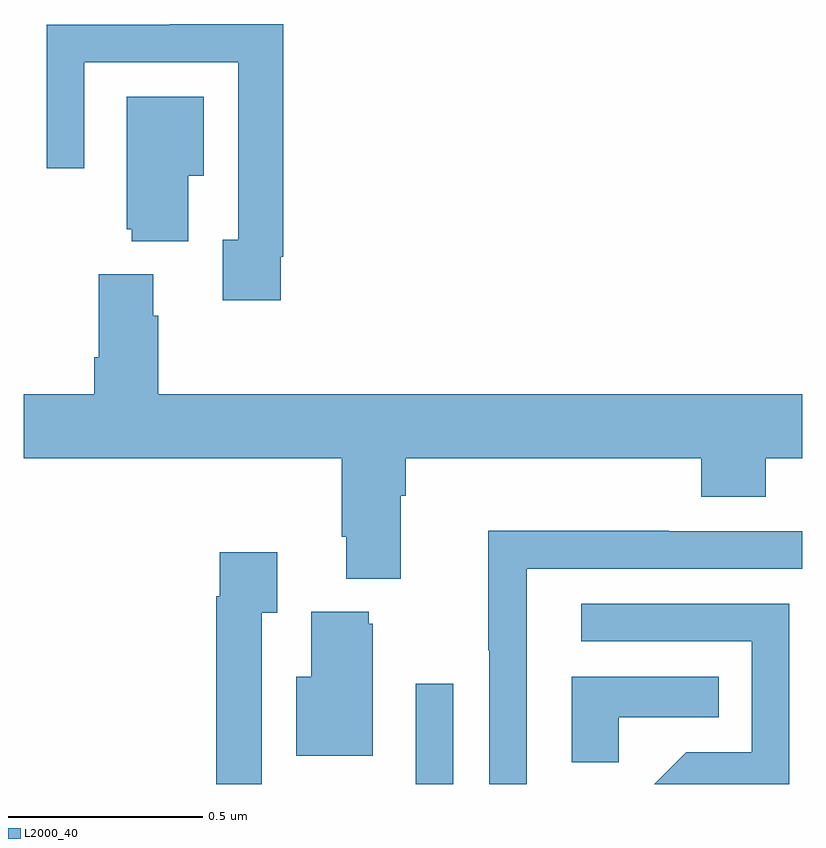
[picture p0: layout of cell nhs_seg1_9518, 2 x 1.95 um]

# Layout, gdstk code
import gdstk
lib = gdstk.Library(unit=1e-6, precision=1e-09)
def R(c, l, rs):  # rectangles x0, y0, x1, y1
    for r in rs: c.add(gdstk.rectangle(r[:2], r[2:], *l))
def P(c, l, *ps):  # polygons
    for p in ps: c.add(gdstk.Polygon(p, *l))
L2000_40 = (2000, 40)

nhs_seg1_9518 = lib.new_cell('nhs_seg1_9518')
R(nhs_seg1_9518, L2000_40, [(230.007,580.199,230.103,580.456)])
P(nhs_seg1_9518, L2000_40, [(229.66,581.554),(229.667,581.554),(229.667,582.152),(229.375,582.152),(229.375,582.15),(229.059,582.15),(229.059,581.781),(229.155,581.781),(229.155,582.054),(229.551,582.054),(229.551,581.598),(229.511,581.598),(229.511,581.442),(229.66,581.442)],
  [(229.423,581.762),(229.462,581.762),(229.462,581.965),(229.265,581.965),(229.265,581.625),(229.277,581.625),(229.277,581.594),(229.423,581.594)],
  [(229.969,580.94),(229.982,580.94),(229.982,581.036),(230.741,581.036),(230.741,580.937),(230.906,580.937),(230.906,581.036),(231,581.036),(231,581.2),(229.346,581.2),(229.346,581.402),(229.333,581.402),(229.333,581.509),(229.193,581.509),(229.193,581.296),(229.181,581.296),(229.181,581.2),(229,581.2),(229,581.036),(229.817,581.036),(229.817,580.834),(229.829,580.834),(229.829,580.727),(229.969,580.727)],
  [(230.292,580.752),(231,580.752),(231,580.848),(230.657,580.848),(230.657,580.85),(230.194,580.85),(230.194,580.543),(230.196,580.543),(230.196,580.199),(230.292,580.199)],
  [(229.611,580.639),(229.651,580.639),(229.651,580.795),(229.503,580.795),(229.503,580.682),(229.495,580.682),(229.495,580.199),(229.611,580.199)],
  [(230.967,580.662),(230.433,580.662),(230.433,580.566),(230.871,580.566),(230.871,580.281),(230.702,580.281),(230.62,580.199),(230.967,580.199)],
  [(229.897,580.611),(229.886,580.611),(229.886,580.642),(229.739,580.642),(229.739,580.474),(229.7,580.474),(229.7,580.271),(229.897,580.271)],
  [(230.529,580.37),(230.786,580.37),(230.786,580.474),(230.408,580.474),(230.408,580.255),(230.529,580.255)])

lib.write_gds('nhs_seg1_9518.gds')
